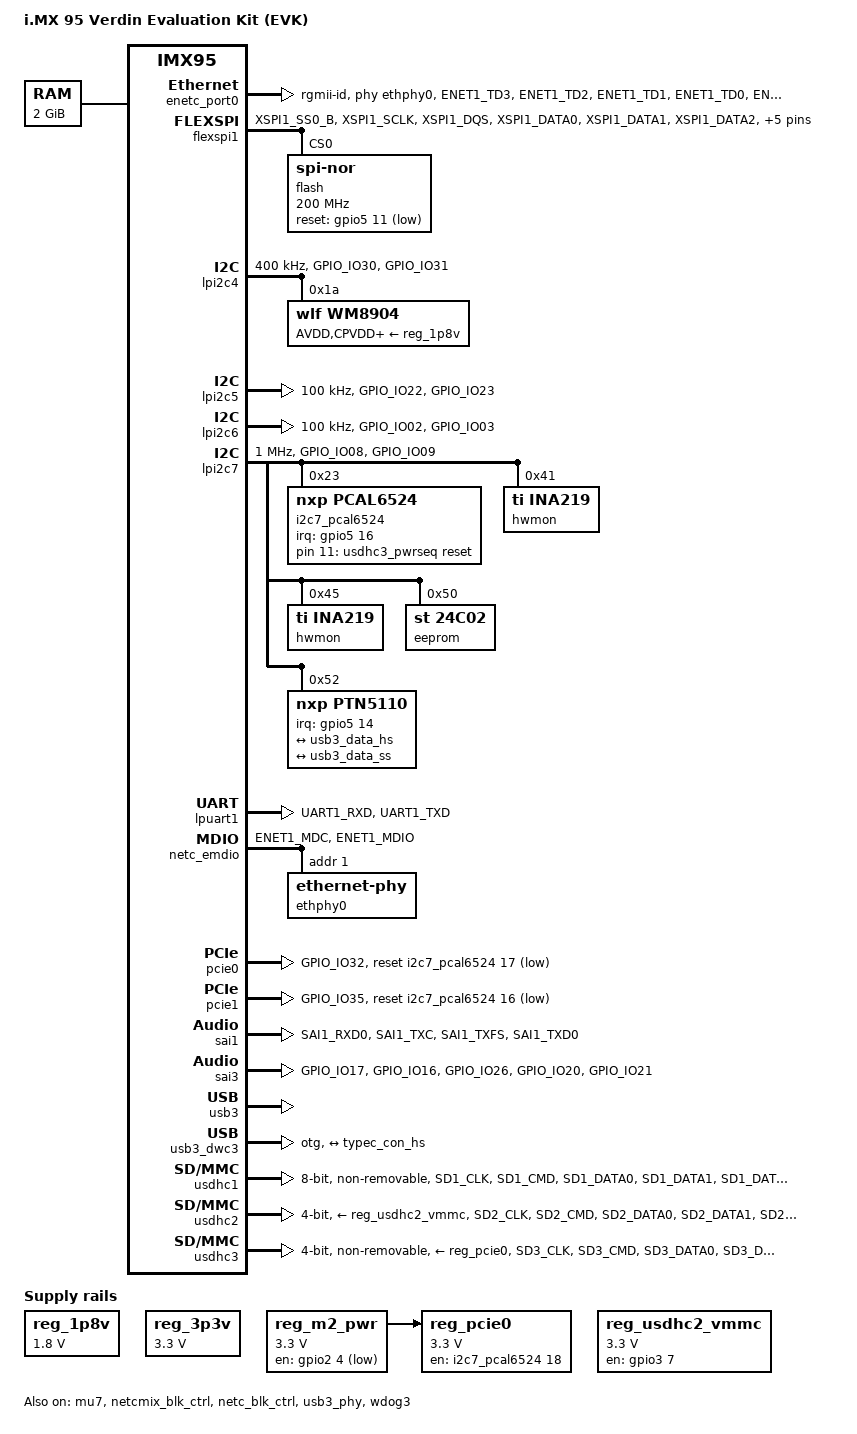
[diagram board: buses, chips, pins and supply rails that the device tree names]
// SPDX-License-Identifier: (GPL-2.0+ OR MIT)
/*
 * Copyright 2023 NXP
 * Copyright 2025 Marek Vasut <marek.vasut@mailbox.org>
 */

/dts-v1/;

#include <dt-bindings/usb/pd.h>
#include "imx95.dtsi"

#define FALLING_EDGE			1
#define RISING_EDGE			2

#define BRD_SM_CTRL_SD3_WAKE		0x8000	/* PCAL6408A-0 */
#define BRD_SM_CTRL_PCIE1_WAKE		0x8001	/* PCAL6408A-4 */
#define BRD_SM_CTRL_BT_WAKE		0x8002	/* PCAL6408A-5 */
#define BRD_SM_CTRL_PCIE2_WAKE		0x8003	/* PCAL6408A-6 */
#define BRD_SM_CTRL_BUTTON		0x8004	/* PCAL6408A-7 */

/ {
	model = "i.MX 95 Verdin Evaluation Kit (EVK)";
	compatible = "toradex,verdin-imx95-19x19-evk", "fsl,imx95";

	aliases {
		ethernet0 = &enetc_port0;
		ethernet1 = &enetc_port1;
		ethernet2 = &enetc_port2;
		gpio0 = &gpio1;
		gpio1 = &gpio2;
		gpio2 = &gpio3;
		gpio3 = &gpio4;
		gpio4 = &gpio5;
		i2c0 = &lpi2c1;
		i2c1 = &lpi2c2;
		i2c2 = &lpi2c3;
		i2c3 = &lpi2c4;
		i2c4 = &lpi2c5;
		i2c5 = &lpi2c6;
		i2c6 = &lpi2c7;
		i2c7 = &lpi2c8;
		mmc0 = &usdhc1;
		mmc1 = &usdhc2;
		serial0 = &lpuart1;
	};

	chosen {
		stdout-path = &lpuart1;
	};

	memory@80000000 {
		device_type = "memory";
		reg = <0x0 0x80000000 0 0x80000000>;
	};

	reserved-memory {
		#address-cells = <2>;
		#size-cells = <2>;
		ranges;

		linux_cma: linux,cma {
			compatible = "shared-dma-pool";
			alloc-ranges = <0 0x80000000 0 0x7f000000>;
			size = <0 0x3c000000>;
			linux,cma-default;
			reusable;
		};
	};

	reg_1p8v: regulator-1p8v {
		compatible = "regulator-fixed";
		regulator-max-microvolt = <1800000>;
		regulator-min-microvolt = <1800000>;
		regulator-name = "+V1.8_SW";
	};

	reg_3p3v: regulator-3p3v {
		compatible = "regulator-fixed";
		regulator-max-microvolt = <3300000>;
		regulator-min-microvolt = <3300000>;
		regulator-name = "+V3.3_SW";
	};

	reg_m2_pwr: regulator-m2-pwr {
		compatible = "regulator-fixed";
		regulator-name = "M.2-power";
		regulator-min-microvolt = <3300000>;
		regulator-max-microvolt = <3300000>;
		gpio = <&gpio2 4 GPIO_ACTIVE_LOW>;
	};

	reg_pcie0: regulator-pcie {
		compatible = "regulator-fixed";
		regulator-name = "PCIE_WLAN_EN";
		regulator-min-microvolt = <3300000>;
		regulator-max-microvolt = <3300000>;
		vin-supply = <&reg_m2_pwr>;
		gpio = <&i2c7_pcal6524 18 GPIO_ACTIVE_HIGH>;
		enable-active-high;
	};

	reg_usdhc2_vmmc: regulator-usdhc2 {
		compatible = "regulator-fixed";
		pinctrl-names = "default";
		pinctrl-0 = <&pinctrl_reg_usdhc2_vmmc>;
		regulator-name = "VDD_SD2_3V3";
		regulator-min-microvolt = <3300000>;
		regulator-max-microvolt = <3300000>;
		gpio = <&gpio3 7 GPIO_ACTIVE_HIGH>;
		enable-active-high;
		off-on-delay-us = <12000>;
	};

	usdhc3_pwrseq: usdhc3-pwrseq {
		compatible = "mmc-pwrseq-simple";
		reset-gpios = <&i2c7_pcal6524 11 GPIO_ACTIVE_HIGH>;
	};

	sound-wm8904 {
		compatible = "fsl,imx-audio-wm8904";
		model = "wm8904-audio";
		audio-cpu = <&sai3>;
		audio-codec = <&wm8904>;
		audio-routing =
			"Headphone Jack", "HPOUTL",
			"Headphone Jack", "HPOUTR",
			"AMIC", "MICBIAS",
			"IN2L", "AMIC";
	};
};

&enetc_port0 {
	pinctrl-names = "default";
	pinctrl-0 = <&pinctrl_enetc0>;
	phy-handle = <&ethphy0>;
	phy-mode = "rgmii-id";
	status = "okay";
};

&flexspi1 {
	pinctrl-names = "default";
	pinctrl-0 = <&pinctrl_flexspi1>;
	status = "okay";

	flash@0 {
		compatible = "jedec,spi-nor";
		reg = <0>;
		pinctrl-names = "default";
		pinctrl-0 = <&pinctrl_flexspi1_reset>;
		reset-gpios = <&gpio5 11 GPIO_ACTIVE_LOW>;
		#address-cells = <1>;
		#size-cells = <1>;
		spi-max-frequency = <200000000>;
		spi-tx-bus-width = <8>;
		spi-rx-bus-width = <8>;
	};
};

&lpi2c4 {
	clock-frequency = <400000>;
	pinctrl-names = "default";
	pinctrl-0 = <&pinctrl_lpi2c4>;
	status = "okay";

	wm8904: codec@1a {
		#sound-dai-cells = <0>;
		compatible = "wlf,wm8904";
		reg = <0x1a>;
		clocks = <&scmi_clk IMX95_CLK_SAI3>;
		clock-names = "mclk";
		AVDD-supply = <&reg_1p8v>;
		CPVDD-supply = <&reg_1p8v>;
		DBVDD-supply = <&reg_1p8v>;
		DCVDD-supply = <&reg_1p8v>;
		MICVDD-supply = <&reg_1p8v>;
	};
};

&lpi2c5 {
	clock-frequency = <100000>;
	pinctrl-names = "default";
	pinctrl-0 = <&pinctrl_lpi2c5>;
	status = "okay";
};

&lpi2c6 {
	clock-frequency = <100000>;
	pinctrl-names = "default";
	pinctrl-0 = <&pinctrl_lpi2c6>;
	status = "okay";
};

&lpi2c7 {
	clock-frequency = <1000000>;
	pinctrl-names = "default";
	pinctrl-0 = <&pinctrl_lpi2c7>;
	status = "okay";

	i2c7_pcal6524: i2c7-gpio@23 {
		compatible = "nxp,pcal6524";
		reg = <0x23>;
		pinctrl-names = "default";
		pinctrl-0 = <&pinctrl_i2c7_pcal6524>;
		gpio-controller;
		#gpio-cells = <2>;
		interrupt-controller;
		#interrupt-cells = <2>;
		interrupt-parent = <&gpio5>;
		interrupts = <16 IRQ_TYPE_LEVEL_LOW>;
	};

	/* Current measurement at SoM 5V power output */
	hwmon@41 {
		compatible = "ti,ina219";
		reg = <0x41>;
		shunt-resistor = <10000>;
	};

	/* Current measurement at Board power input */
	hwmon@45 {
		compatible = "ti,ina219";
		reg = <0x45>;
		shunt-resistor = <10000>;
	};

	eeprom@50 {
		compatible = "st,24c02";
		reg = <0x50>;
	};

	ptn5110: tcpc@52 {
		compatible = "nxp,ptn5110", "tcpci";
		reg = <0x52>;
		pinctrl-names = "default";
		pinctrl-0 = <&pinctrl_typec>;
		interrupt-parent = <&gpio5>;
		interrupts = <14 IRQ_TYPE_LEVEL_LOW>;

		typec_con: connector {
			compatible = "usb-c-connector";
			label = "USB-C";
			power-role = "dual";
			data-role = "dual";
			try-power-role = "sink";
			source-pdos = <PDO_FIXED(5000, 3000, PDO_FIXED_USB_COMM)>;
			sink-pdos = <PDO_FIXED(5000, 3000, PDO_FIXED_USB_COMM)
				     PDO_VAR(5000, 20000, 3000)>;
			op-sink-microwatt = <15000000>;
			self-powered;

			ports {
				#address-cells = <1>;
				#size-cells = <0>;

				port@0 {
					reg = <0>;

					typec_con_hs: endpoint {
						remote-endpoint = <&usb3_data_hs>;
					};
				};

				port@1 {
					reg = <1>;

					typec_con_ss: endpoint {
						remote-endpoint = <&usb3_data_ss>;
					};
				};
			};
		};
	};
};

&lpuart1 {
	/* console */
	pinctrl-names = "default";
	pinctrl-0 = <&pinctrl_uart1>;
	status = "okay";
};

&mu7 {
	status = "okay";
};

&netcmix_blk_ctrl {
	status = "okay";
};

&netc_blk_ctrl {
	status = "okay";
};

&netc_emdio {
	pinctrl-names = "default";
	pinctrl-0 = <&pinctrl_emdio>;
	status = "okay";

	ethphy0: ethernet-phy@1 {
		reg = <1>;
		realtek,clkout-disable;
	};
};

&pcie0 {
	pinctrl-0 = <&pinctrl_pcie0>;
	pinctrl-names = "default";
	reset-gpio = <&i2c7_pcal6524 17 GPIO_ACTIVE_LOW>;
	vpcie-supply = <&reg_pcie0>;
	status = "okay";
};

&pcie1 {
	pinctrl-0 = <&pinctrl_pcie1>;
	pinctrl-names = "default";
	reset-gpio = <&i2c7_pcal6524 16 GPIO_ACTIVE_LOW>;
	status = "okay";
};

&sai1 {
	#sound-dai-cells = <0>;
	pinctrl-names = "default";
	pinctrl-0 = <&pinctrl_sai1>;
	assigned-clocks = <&scmi_clk IMX95_CLK_AUDIOPLL1_VCO>,
			  <&scmi_clk IMX95_CLK_AUDIOPLL2_VCO>,
			  <&scmi_clk IMX95_CLK_AUDIOPLL1>,
			  <&scmi_clk IMX95_CLK_AUDIOPLL2>,
			  <&scmi_clk IMX95_CLK_SAI1>;
	assigned-clock-parents = <0>, <0>, <0>, <0>,
				 <&scmi_clk IMX95_CLK_AUDIOPLL1>;
	assigned-clock-rates = <3932160000>,
			       <3612672000>, <393216000>,
			       <361267200>, <12288000>;
	fsl,sai-mclk-direction-output;
	status = "okay";
};

&sai3 {
	#sound-dai-cells = <0>;
	pinctrl-names = "default";
	pinctrl-0 = <&pinctrl_sai3>;
	assigned-clocks = <&scmi_clk IMX95_CLK_AUDIOPLL1_VCO>,
			  <&scmi_clk IMX95_CLK_AUDIOPLL2_VCO>,
			  <&scmi_clk IMX95_CLK_AUDIOPLL1>,
			  <&scmi_clk IMX95_CLK_AUDIOPLL2>,
			  <&scmi_clk IMX95_CLK_SAI3>;
	assigned-clock-parents = <0>, <0>, <0>, <0>,
				 <&scmi_clk IMX95_CLK_AUDIOPLL1>;
	assigned-clock-rates = <3932160000>,
			       <3612672000>, <393216000>,
			       <361267200>, <12288000>;
	fsl,sai-mclk-direction-output;
	status = "okay";
};

&usb3 {
	status = "okay";
};

&usb3_dwc3 {
	dr_mode = "otg";
	hnp-disable;
	srp-disable;
	adp-disable;
	usb-role-switch;
	role-switch-default-mode = "peripheral";
	snps,dis-u1-entry-quirk;
	snps,dis-u2-entry-quirk;
	status = "okay";

	port {
		usb3_data_hs: endpoint {
			remote-endpoint = <&typec_con_hs>;
		};
	};
};

&usb3_phy {
	fsl,phy-tx-preemp-amp-tune-microamp = <600>;
	orientation-switch;
	status = "okay";

	port {
		usb3_data_ss: endpoint {
			remote-endpoint = <&typec_con_ss>;
		};
	};
};

&usdhc1 {
	pinctrl-names = "default", "state_100mhz", "state_200mhz", "sleep";
	pinctrl-0 = <&pinctrl_usdhc1>;
	pinctrl-1 = <&pinctrl_usdhc1_100mhz>;
	pinctrl-2 = <&pinctrl_usdhc1_200mhz>;
	pinctrl-3 = <&pinctrl_usdhc1>;
	bus-width = <8>;
	non-removable;
	no-sdio;
	no-sd;
	status = "okay";
};

&usdhc2 {
	pinctrl-names = "default", "state_100mhz", "state_200mhz", "sleep";
	pinctrl-0 = <&pinctrl_usdhc2>, <&pinctrl_usdhc2_gpio>;
	pinctrl-1 = <&pinctrl_usdhc2_100mhz>, <&pinctrl_usdhc2_gpio>;
	pinctrl-2 = <&pinctrl_usdhc2_200mhz>, <&pinctrl_usdhc2_gpio>;
	pinctrl-3 = <&pinctrl_usdhc2>, <&pinctrl_usdhc2_gpio>;
	cd-gpios = <&gpio3 0 GPIO_ACTIVE_LOW>;
	vmmc-supply = <&reg_usdhc2_vmmc>;
	bus-width = <4>;
	status = "okay";
};

&usdhc3 {
	pinctrl-names = "default";
	pinctrl-0 = <&pinctrl_usdhc3>;
	mmc-pwrseq = <&usdhc3_pwrseq>;
	vmmc-supply = <&reg_pcie0>;
	bus-width = <4>;
	keep-power-in-suspend;
	non-removable;
	status = "okay";
};

&scmi_misc {
	nxp,ctrl-ids = <BRD_SM_CTRL_SD3_WAKE	FALLING_EDGE
			BRD_SM_CTRL_PCIE1_WAKE	FALLING_EDGE
			BRD_SM_CTRL_BT_WAKE	FALLING_EDGE
			BRD_SM_CTRL_PCIE2_WAKE	FALLING_EDGE
			BRD_SM_CTRL_BUTTON	FALLING_EDGE>;
};

&wdog3 {
	fsl,ext-reset-output;
	status = "okay";
};

&scmi_iomuxc {
	pinctrl-names = "default";
	pinctrl-0 = <&pinctrl_hog>;

	pinctrl_hog: hoggrp {
		fsl,pins =
			<IMX95_PAD_GPIO_IO04__GPIO2_IO_BIT4			0x3fe>;
	};

	pinctrl_emdio: emdiogrp {
		fsl,pins =
			<IMX95_PAD_ENET1_MDC__NETCMIX_TOP_NETC_MDC		0x57e>,
			<IMX95_PAD_ENET1_MDIO__NETCMIX_TOP_NETC_MDIO		0x97e>;
	};

	pinctrl_enetc0: enetc0grp {
		fsl,pins =
			<IMX95_PAD_ENET1_TD3__NETCMIX_TOP_ETH0_RGMII_TD3	0x57e>,
			<IMX95_PAD_ENET1_TD2__NETCMIX_TOP_ETH0_RGMII_TD2	0x57e>,
			<IMX95_PAD_ENET1_TD1__NETCMIX_TOP_ETH0_RGMII_TD1	0x57e>,
			<IMX95_PAD_ENET1_TD0__NETCMIX_TOP_ETH0_RGMII_TD0	0x57e>,
			<IMX95_PAD_ENET1_TX_CTL__NETCMIX_TOP_ETH0_RGMII_TX_CTL	0x57e>,
			<IMX95_PAD_ENET1_TXC__NETCMIX_TOP_ETH0_RGMII_TX_CLK	0x58e>,
			<IMX95_PAD_ENET1_RX_CTL__NETCMIX_TOP_ETH0_RGMII_RX_CTL	0x57e>,
			<IMX95_PAD_ENET1_RXC__NETCMIX_TOP_ETH0_RGMII_RX_CLK	0x58e>,
			<IMX95_PAD_ENET1_RD0__NETCMIX_TOP_ETH0_RGMII_RD0	0x57e>,
			<IMX95_PAD_ENET1_RD1__NETCMIX_TOP_ETH0_RGMII_RD1	0x57e>,
			<IMX95_PAD_ENET1_RD2__NETCMIX_TOP_ETH0_RGMII_RD2	0x57e>,
			<IMX95_PAD_ENET1_RD3__NETCMIX_TOP_ETH0_RGMII_RD3	0x57e>;
	};

	pinctrl_flexspi1: flexspi1grp {
		fsl,pins =
			<IMX95_PAD_XSPI1_SS0_B__FLEXSPI1_A_SS0_B		0x3fe>,
			<IMX95_PAD_XSPI1_SCLK__FLEXSPI1_A_SCLK			0x3fe>,
			<IMX95_PAD_XSPI1_DQS__FLEXSPI1_A_DQS			0x3fe>,
			<IMX95_PAD_XSPI1_DATA0__FLEXSPI1_A_DATA_BIT0		0x3fe>,
			<IMX95_PAD_XSPI1_DATA1__FLEXSPI1_A_DATA_BIT1		0x3fe>,
			<IMX95_PAD_XSPI1_DATA2__FLEXSPI1_A_DATA_BIT2		0x3fe>,
			<IMX95_PAD_XSPI1_DATA3__FLEXSPI1_A_DATA_BIT3		0x3fe>,
			<IMX95_PAD_XSPI1_DATA4__FLEXSPI1_A_DATA_BIT4		0x3fe>,
			<IMX95_PAD_XSPI1_DATA5__FLEXSPI1_A_DATA_BIT5		0x3fe>,
			<IMX95_PAD_XSPI1_DATA6__FLEXSPI1_A_DATA_BIT6		0x3fe>,
			<IMX95_PAD_XSPI1_DATA7__FLEXSPI1_A_DATA_BIT7		0x3fe>;
	};

	pinctrl_flexspi1_reset: flexspi1-reset-grp {
		fsl,pins =
			<IMX95_PAD_XSPI1_SS1_B__GPIO5_IO_BIT11			0x3fe>;
	};

	pinctrl_hp: hpgrp {
		fsl,pins =
			<IMX95_PAD_GPIO_IO11__GPIO2_IO_BIT11			0x31e>;
	};

	pinctrl_i2c4_pcal6408: i2c4pcal6498grp {
		fsl,pins =
			<IMX95_PAD_GPIO_IO18__GPIO2_IO_BIT18			0x31e>;
	};

	pinctrl_i2c7_pcal6524: i2c7pcal6524grp {
		fsl,pins =
			<IMX95_PAD_GPIO_IO36__GPIO5_IO_BIT16			0x31e>;
	};

	pinctrl_lpi2c4: lpi2c4grp {
		fsl,pins =
			<IMX95_PAD_GPIO_IO30__LPI2C4_SDA			0x40000b9e>,
			<IMX95_PAD_GPIO_IO31__LPI2C4_SCL			0x40000b9e>;
	};

	pinctrl_lpi2c5: lpi2c5grp {
		fsl,pins =
			<IMX95_PAD_GPIO_IO22__LPI2C5_SDA			0x40000b9e>,
			<IMX95_PAD_GPIO_IO23__LPI2C5_SCL			0x40000b9e>;
	};

	pinctrl_lpi2c6: lpi2c6grp {
		fsl,pins =
			<IMX95_PAD_GPIO_IO02__LPI2C6_SDA			0x40000b9e>,
			<IMX95_PAD_GPIO_IO03__LPI2C6_SCL			0x40000b9e>;
	};

	pinctrl_lpi2c7: lpi2c7grp {
		fsl,pins =
			<IMX95_PAD_GPIO_IO08__LPI2C7_SDA			0x40000b9e>,
			<IMX95_PAD_GPIO_IO09__LPI2C7_SCL			0x40000b9e>;
	};

	pinctrl_pcal6416: pcal6416grp {
		fsl,pins =
			<IMX95_PAD_CCM_CLKO3__GPIO4_IO_BIT28			0x31e>;
	};

	pinctrl_pcie0: pcie0grp {
		fsl,pins =
			<IMX95_PAD_GPIO_IO32__HSIOMIX_TOP_PCIE1_CLKREQ_B	0x4000031e>;
	};

	pinctrl_pcie1: pcie1grp {
		fsl,pins =
			<IMX95_PAD_GPIO_IO35__HSIOMIX_TOP_PCIE2_CLKREQ_B	0x4000031e>;
	};

	pinctrl_pdm: pdmgrp {
		fsl,pins =
			<IMX95_PAD_PDM_CLK__AONMIX_TOP_PDM_CLK				0x31e>,
			<IMX95_PAD_PDM_BIT_STREAM0__AONMIX_TOP_PDM_BIT_STREAM_BIT0	0x31e>;
	};

	pinctrl_reg_usdhc2_vmmc: regusdhc2vmmcgrp {
		fsl,pins =
			<IMX95_PAD_SD2_RESET_B__GPIO3_IO_BIT7		0x31e>;
	};

	pinctrl_sai1: sai1grp {
		fsl,pins =
			<IMX95_PAD_SAI1_RXD0__AONMIX_TOP_SAI1_RX_DATA_BIT0	0x31e>,
			<IMX95_PAD_SAI1_TXC__AONMIX_TOP_SAI1_TX_BCLK		0x31e>,
			<IMX95_PAD_SAI1_TXFS__AONMIX_TOP_SAI1_TX_SYNC		0x31e>,
			<IMX95_PAD_SAI1_TXD0__AONMIX_TOP_SAI1_TX_DATA_BIT0	0x31e>;
	};

	pinctrl_sai2: sai2grp {
		fsl,pins =
			<IMX95_PAD_ENET2_MDIO__NETCMIX_TOP_SAI2_RX_BCLK		0x31e>,
			<IMX95_PAD_ENET2_MDC__NETCMIX_TOP_SAI2_RX_SYNC		0x31e>,
			<IMX95_PAD_ENET2_TD3__NETCMIX_TOP_SAI2_RX_DATA_BIT0	0x31e>,
			<IMX95_PAD_ENET2_TD2__NETCMIX_TOP_SAI2_RX_DATA_BIT1	0x31e>,
			<IMX95_PAD_ENET2_TXC__NETCMIX_TOP_SAI2_TX_BCLK		0x31e>,
			<IMX95_PAD_ENET2_TX_CTL__NETCMIX_TOP_SAI2_TX_SYNC	0x31e>,
			<IMX95_PAD_ENET2_RX_CTL__NETCMIX_TOP_SAI2_TX_DATA_BIT0	0x31e>,
			<IMX95_PAD_ENET2_RXC__NETCMIX_TOP_SAI2_TX_DATA_BIT1	0x31e>,
			<IMX95_PAD_ENET2_RD0__NETCMIX_TOP_SAI2_TX_DATA_BIT2	0x31e>,
			<IMX95_PAD_ENET2_RD1__NETCMIX_TOP_SAI2_TX_DATA_BIT3	0x31e>,
			<IMX95_PAD_ENET2_RD2__NETCMIX_TOP_SAI2_MCLK		0x31e>;
	};

	pinctrl_sai3: sai3grp {
		fsl,pins =
			<IMX95_PAD_GPIO_IO17__SAI3_MCLK			0x31e>,
			<IMX95_PAD_GPIO_IO16__SAI3_TX_BCLK		0x31e>,
			<IMX95_PAD_GPIO_IO26__SAI3_TX_SYNC		0x31e>,
			<IMX95_PAD_GPIO_IO20__SAI3_RX_DATA_BIT0		0x31e>,
			<IMX95_PAD_GPIO_IO21__SAI3_TX_DATA_BIT0		0x31e>;
	};

	pinctrl_tpm6: tpm6grp {
		fsl,pins =
			<IMX95_PAD_GPIO_IO19__TPM6_CH2			0x51e>;
	};

	pinctrl_typec: typecgrp {
		fsl,pins =
			<IMX95_PAD_GPIO_IO34__GPIO5_IO_BIT14		0x31e>;
	};

	pinctrl_uart1: uart1grp {
		fsl,pins =
			<IMX95_PAD_UART1_RXD__AONMIX_TOP_LPUART1_RX	0x31e>,
			<IMX95_PAD_UART1_TXD__AONMIX_TOP_LPUART1_TX	0x31e>;
	};

	pinctrl_usdhc1: usdhc1grp {
		fsl,pins =
			<IMX95_PAD_SD1_CLK__USDHC1_CLK			0x158e>,
			<IMX95_PAD_SD1_CMD__USDHC1_CMD			0x138e>,
			<IMX95_PAD_SD1_DATA0__USDHC1_DATA0		0x138e>,
			<IMX95_PAD_SD1_DATA1__USDHC1_DATA1		0x138e>,
			<IMX95_PAD_SD1_DATA2__USDHC1_DATA2		0x138e>,
			<IMX95_PAD_SD1_DATA3__USDHC1_DATA3		0x138e>,
			<IMX95_PAD_SD1_DATA4__USDHC1_DATA4		0x138e>,
			<IMX95_PAD_SD1_DATA5__USDHC1_DATA5		0x138e>,
			<IMX95_PAD_SD1_DATA6__USDHC1_DATA6		0x138e>,
			<IMX95_PAD_SD1_DATA7__USDHC1_DATA7		0x138e>,
			<IMX95_PAD_SD1_STROBE__USDHC1_STROBE		0x158e>;
	};

	pinctrl_usdhc1_100mhz: usdhc1-100mhzgrp {
		fsl,pins =
			<IMX95_PAD_SD1_CLK__USDHC1_CLK			0x158e>,
			<IMX95_PAD_SD1_CMD__USDHC1_CMD			0x138e>,
			<IMX95_PAD_SD1_DATA0__USDHC1_DATA0		0x138e>,
			<IMX95_PAD_SD1_DATA1__USDHC1_DATA1		0x138e>,
			<IMX95_PAD_SD1_DATA2__USDHC1_DATA2		0x138e>,
			<IMX95_PAD_SD1_DATA3__USDHC1_DATA3		0x138e>,
			<IMX95_PAD_SD1_DATA4__USDHC1_DATA4		0x138e>,
			<IMX95_PAD_SD1_DATA5__USDHC1_DATA5		0x138e>,
			<IMX95_PAD_SD1_DATA6__USDHC1_DATA6		0x138e>,
			<IMX95_PAD_SD1_DATA7__USDHC1_DATA7		0x138e>,
			<IMX95_PAD_SD1_STROBE__USDHC1_STROBE		0x158e>;
	};

	pinctrl_usdhc1_200mhz: usdhc1-200mhzgrp {
		fsl,pins =
			<IMX95_PAD_SD1_CLK__USDHC1_CLK			0x15fe>,
			<IMX95_PAD_SD1_CMD__USDHC1_CMD			0x13fe>,
			<IMX95_PAD_SD1_DATA0__USDHC1_DATA0		0x13fe>,
			<IMX95_PAD_SD1_DATA1__USDHC1_DATA1		0x13fe>,
			<IMX95_PAD_SD1_DATA2__USDHC1_DATA2		0x13fe>,
			<IMX95_PAD_SD1_DATA3__USDHC1_DATA3		0x13fe>,
			<IMX95_PAD_SD1_DATA4__USDHC1_DATA4		0x13fe>,
			<IMX95_PAD_SD1_DATA5__USDHC1_DATA5		0x13fe>,
			<IMX95_PAD_SD1_DATA6__USDHC1_DATA6		0x13fe>,
			<IMX95_PAD_SD1_DATA7__USDHC1_DATA7		0x13fe>,
			<IMX95_PAD_SD1_STROBE__USDHC1_STROBE		0x15fe>;
	};

	pinctrl_usdhc2_gpio: usdhc2gpiogrp {
		fsl,pins =
			<IMX95_PAD_SD2_CD_B__GPIO3_IO_BIT0		0x31e>;
	};

	pinctrl_usdhc2: usdhc2grp {
		fsl,pins =
			<IMX95_PAD_SD2_CLK__USDHC2_CLK			0x158e>,
			<IMX95_PAD_SD2_CMD__USDHC2_CMD			0x138e>,
			<IMX95_PAD_SD2_DATA0__USDHC2_DATA0		0x138e>,
			<IMX95_PAD_SD2_DATA1__USDHC2_DATA1		0x138e>,
			<IMX95_PAD_SD2_DATA2__USDHC2_DATA2		0x138e>,
			<IMX95_PAD_SD2_DATA3__USDHC2_DATA3		0x138e>,
			<IMX95_PAD_SD2_VSELECT__USDHC2_VSELECT		0x51e>;
	};

	pinctrl_usdhc2_100mhz: usdhc2-100mhzgrp {
		fsl,pins =
			<IMX95_PAD_SD2_CLK__USDHC2_CLK			0x158e>,
			<IMX95_PAD_SD2_CMD__USDHC2_CMD			0x138e>,
			<IMX95_PAD_SD2_DATA0__USDHC2_DATA0		0x138e>,
			<IMX95_PAD_SD2_DATA1__USDHC2_DATA1		0x138e>,
			<IMX95_PAD_SD2_DATA2__USDHC2_DATA2		0x138e>,
			<IMX95_PAD_SD2_DATA3__USDHC2_DATA3		0x138e>,
			<IMX95_PAD_SD2_VSELECT__USDHC2_VSELECT		0x51e>;
	};

	pinctrl_usdhc2_200mhz: usdhc2-200mhzgrp {
		fsl,pins =
			<IMX95_PAD_SD2_CLK__USDHC2_CLK			0x15fe>,
			<IMX95_PAD_SD2_CMD__USDHC2_CMD			0x13fe>,
			<IMX95_PAD_SD2_DATA0__USDHC2_DATA0		0x13fe>,
			<IMX95_PAD_SD2_DATA1__USDHC2_DATA1		0x13fe>,
			<IMX95_PAD_SD2_DATA2__USDHC2_DATA2		0x13fe>,
			<IMX95_PAD_SD2_DATA3__USDHC2_DATA3		0x13fe>,
			<IMX95_PAD_SD2_VSELECT__USDHC2_VSELECT		0x51e>;
	};

	pinctrl_usdhc3: usdhc3grp {
		fsl,pins =
			<IMX95_PAD_SD3_CLK__USDHC3_CLK			0x158e>,
			<IMX95_PAD_SD3_CMD__USDHC3_CMD			0x138e>,
			<IMX95_PAD_SD3_DATA0__USDHC3_DATA0		0x138e>,
			<IMX95_PAD_SD3_DATA1__USDHC3_DATA1		0x138e>,
			<IMX95_PAD_SD3_DATA2__USDHC3_DATA2		0x138e>,
			<IMX95_PAD_SD3_DATA3__USDHC3_DATA3		0x138e>;
	};
};
